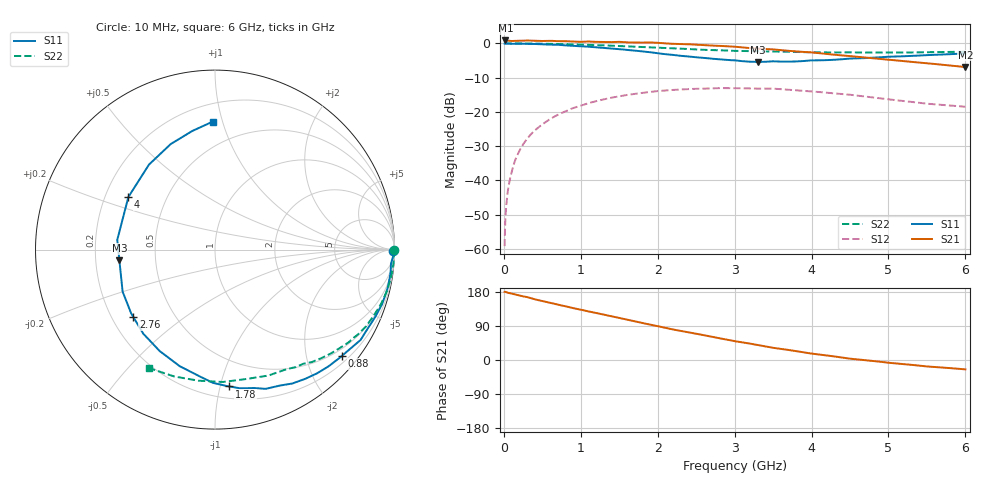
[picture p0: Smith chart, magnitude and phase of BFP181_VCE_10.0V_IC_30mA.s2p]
! Infineon Technologies  Discrete & RF Semiconductors
! BFP181
! VCE = 10.0V,  IC =  30 mA
! Common Emitter S-Parameters:  Jan 2016
# GHz  S  MA  R  50
!  f  S11  S21  S12  S22
! GHz  MAG  ANG  MAG  ANG  MAG  ANG  MAG  ANG
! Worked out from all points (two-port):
!   210 points, 10 MHz to 6 GHz, reference 50 ohm
!   highest |S21| = 0.84 dB at 20 MHz (marker M1); lowest = -6.9 dB at 6 GHz (marker M2)
!   |S21| within 3 dB of the highest: start of sweep to 3.688 GHz
!   lowest |S11| = -5.4 dB at 3.3 GHz (marker M3), VSWR 3.31, Z = 15.1 - j2.58 ohm
!   |S11| at or under -10 dB: nowhere
!   |S22| runs from -2.7 to 0.0 dB; largest |S21 - S12| = 1.1
!   S11 on the Smith chart (normalised r, x): 10 MHz: open; 880 MHz: 0.34, -2.71; 1.78 GHz: 0.29, -1.07; 2.76 GHz: 0.29, -0.33; 4 GHz: 0.30, +0.26; 6 GHz: 0.32, +0.93
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0.01  0.9904 -0.5  1.083 179.8  0.0011 87.9  0.9994 -0.2
0.015  0.9935 -0.7  1.093 179.8  0.0019 88.6  0.9992 -0.3
0.02  0.9967 -0.9  1.102 179.8  0.0027 88.9  0.999 -0.4
0.03  0.9957 -1.3  1.099 179.0  0.0041 89.1  0.9987 -0.7
0.045  0.9942 -1.8  1.096 177.9  0.0061 89.2  0.9984 -1.1
0.08  0.9873 -3.6  1.087 176.2  0.0106 86.9  0.9983 -1.9
0.15  0.9864 -6.8  1.086 172.9  0.0201 84.5  0.9986 -3.5
0.24  0.9858 -10.9  1.092 168.4  0.0321 82.5  0.9958 -5.6
0.48  0.9704 -21.8  1.084 156.5  0.0631 73.5  0.9888 -11.0
0.88  0.922 -40.0  1.065 137.9  0.1112 60.0  0.967 -20.0
1.02  0.9043 -46.6  1.054 131.9  0.1255 55.4  0.9566 -22.9
1.5  0.8255 -70.0  1.052 111.0  0.1684 40.5  0.9137 -32.7
1.78  0.7667 -84.0  1.025 98.4  0.1882 32.6  0.8873 -38.0
2.02  0.7124 -96.7  1.014 88.4  0.202 25.8  0.8646 -42.3
2.76  0.5904 -140.3  0.923 59.0  0.2218 6.6  0.7964 -54.9
3.1  0.5497 -161.3  0.872 46.6  0.2205 -1.6  0.7728 -60.5
3.3  0.5361 -173.5  0.837 39.6  0.2189 -6.0  0.7663 -63.7
4  0.5647 148.7  0.738 16.9  0.1994 -19.6  0.7419 -76.3
4.1  0.5654 144.4  0.718 14.5  0.1949 -21.0  0.7394 -78.3
4.5  0.5998 127.8  0.653 3.5  0.1779 -27.1  0.7389 -86.6
5.1  0.6427 110.2  0.564 -9.0  0.148 -30.7  0.7353 -99.2
6  0.7132 91.0  0.451 -24.7  0.1189 -25.6  0.7553 -119.0
